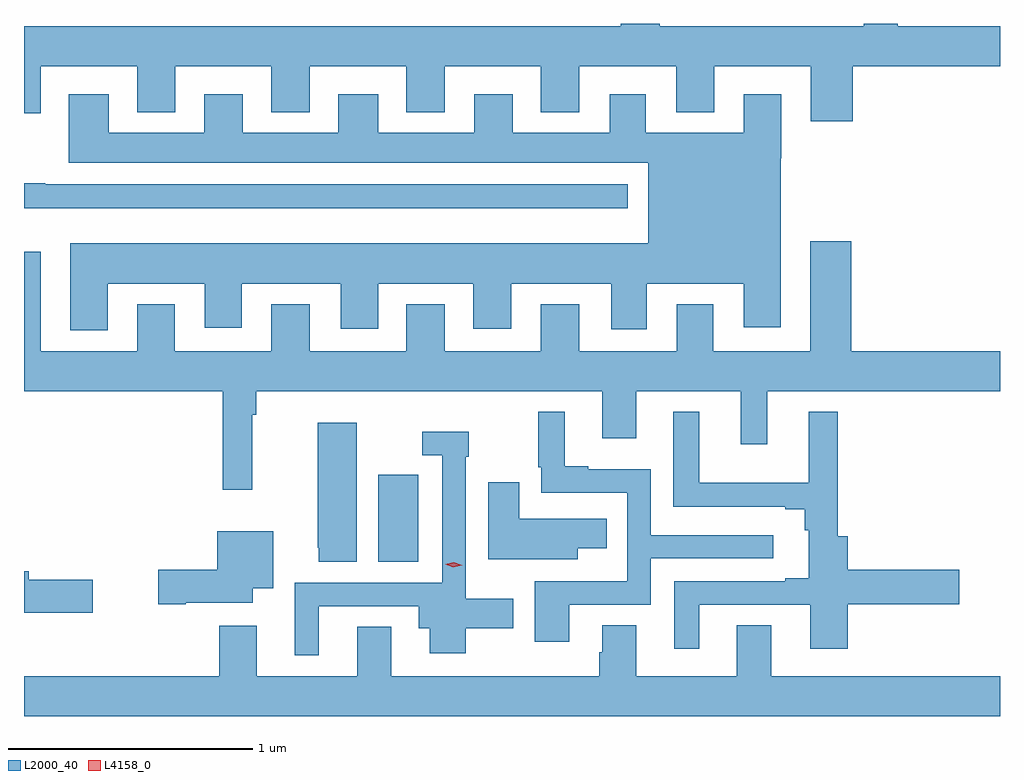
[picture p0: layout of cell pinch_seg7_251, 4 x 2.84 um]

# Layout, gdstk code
import gdstk
lib = gdstk.Library(unit=1e-6, precision=1e-09)
def R(c, l, rs):  # rectangles x0, y0, x1, y1
    for r in rs: c.add(gdstk.rectangle(r[:2], r[2:], *l))
def P(c, l, *ps):  # polygons
    for p in ps: c.add(gdstk.Polygon(p, *l))
L2000_40 = (2000, 40)
L4158_0 = (4158, 0)

pinch_seg7_251 = lib.new_cell('pinch_seg7_251')
R(pinch_seg7_251, L2000_40, [(807.818,1065.184,807.982,1065.541)])
P(pinch_seg7_251, L2000_40, [(809.762,1067.216),(810.366,1067.216),(810.366,1067.38),(809.947,1067.38),(809.947,1067.389),(809.807,1067.389),(809.807,1067.38),(808.971,1067.38),(808.971,1067.389),(808.811,1067.389),(808.811,1067.38),(806.366,1067.38),(806.366,1067.022),(806.434,1067.022),(806.434,1067.216),(806.831,1067.216),(806.831,1067.027),(806.986,1067.027),(806.986,1067.216),(807.38,1067.216),(807.38,1067.027),(807.538,1067.027),(807.538,1067.216),(807.932,1067.216),(807.932,1067.027),(808.09,1067.027),(808.09,1067.216),(808.484,1067.216),(808.484,1067.027),(808.642,1067.027),(808.642,1067.216),(809.039,1067.216),(809.039,1067.027),(809.194,1067.027),(809.194,1067.216),(809.591,1067.216),(809.591,1066.989),(809.762,1066.989)],
  [(806.71,1066.325),(807.107,1066.325),(807.107,1066.143),(807.259,1066.143),(807.259,1066.325),(807.665,1066.325),(807.665,1066.14),(807.817,1066.14),(807.817,1066.325),(808.208,1066.325),(808.208,1066.14),(808.363,1066.14),(808.363,1066.325),(808.772,1066.325),(808.772,1066.137),(808.918,1066.137),(808.918,1066.325),(809.315,1066.325),(809.315,1066.146),(809.467,1066.146),(809.467,1066.838),(809.47,1066.838),(809.47,1067.101),(809.315,1067.101),(809.315,1066.942),(808.915,1066.942),(808.915,1067.101),(808.766,1067.101),(808.766,1066.942),(808.369,1066.942),(808.369,1067.101),(808.211,1067.101),(808.211,1066.942),(807.817,1066.942),(807.817,1067.101),(807.653,1067.101),(807.653,1066.942),(807.262,1066.942),(807.262,1067.101),(807.104,1067.101),(807.104,1066.942),(806.713,1066.942),(806.713,1067.101),(806.549,1067.101),(806.549,1066.82),(808.925,1066.82),(808.925,1066.489),(806.555,1066.489),(806.555,1066.133),(806.71,1066.133)],
  [(808.84,1066.731),(806.453,1066.731),(806.453,1066.736),(806.366,1066.736),(806.366,1066.634),(808.84,1066.634)],
  [(807.302,1065.788),(807.317,1065.788),(807.317,1065.884),(808.736,1065.884),(808.736,1065.69),(808.876,1065.69),(808.876,1065.884),(809.303,1065.884),(809.303,1065.666),(809.413,1065.666),(809.413,1065.884),(810.366,1065.884),(810.366,1066.048),(809.756,1066.048),(809.756,1066.498),(809.588,1066.498),(809.588,1066.048),(809.191,1066.048),(809.191,1066.24),(809.042,1066.24),(809.042,1066.048),(808.642,1066.048),(808.642,1066.24),(808.484,1066.24),(808.484,1066.048),(808.09,1066.048),(808.09,1066.24),(807.932,1066.24),(807.932,1066.048),(807.538,1066.048),(807.538,1066.24),(807.38,1066.24),(807.38,1066.048),(806.983,1066.048),(806.983,1066.24),(806.831,1066.24),(806.831,1066.048),(806.434,1066.048),(806.434,1066.456),(806.366,1066.456),(806.366,1065.884),(807.181,1065.884),(807.181,1065.48),(807.302,1065.48)],
  [(809.134,1065.009),(809.588,1065.009),(809.588,1064.829),(809.741,1064.829),(809.741,1065.01),(810.199,1065.01),(810.199,1065.152),(809.741,1065.152),(809.741,1065.289),(809.701,1065.289),(809.701,1065.799),(809.582,1065.799),(809.582,1065.508),(809.134,1065.508),(809.134,1065.799),(809.027,1065.799),(809.027,1065.411),(809.486,1065.411),(809.486,1065.399),(809.565,1065.399),(809.565,1065.314),(809.582,1065.314),(809.582,1065.118),(809.486,1065.118),(809.486,1065.105),(809.03,1065.105),(809.03,1064.829),(809.134,1064.829)],
  [(808.6,1065.009),(808.935,1065.009),(808.935,1065.198),(809.437,1065.198),(809.437,1065.294),(808.935,1065.294),(808.935,1065.564),(808.678,1065.564),(808.678,1065.577),(808.582,1065.577),(808.582,1065.799),(808.473,1065.799),(808.473,1065.571),(808.485,1065.571),(808.485,1065.468),(808.839,1065.468),(808.839,1065.106),(808.838,1065.106),(808.838,1065.105),(808.46,1065.105),(808.46,1064.856),(808.6,1064.856)],
  [(807.73,1065.754),(807.569,1065.754),(807.569,1065.243),(807.575,1065.243),(807.575,1065.184),(807.73,1065.184)],
  [(807.574,1065.003),(807.983,1065.003),(807.983,1064.912),(808.028,1064.912),(808.028,1064.81),(808.177,1064.81),(808.177,1064.912),(808.372,1064.912),(808.372,1065.034),(808.176,1065.034),(808.176,1065.614),(808.189,1065.614),(808.189,1065.718),(807.999,1065.718),(807.999,1065.621),(808.08,1065.621),(808.08,1065.099),(807.476,1065.099),(807.476,1064.802),(807.574,1064.802)],
  [(808.636,1065.239),(808.754,1065.239),(808.754,1065.361),(808.396,1065.361),(808.396,1065.511),(808.268,1065.511),(808.268,1065.194),(808.636,1065.194)],
  [(807.028,1065.017),(807.304,1065.017),(807.304,1065.077),(807.388,1065.077),(807.388,1065.31),(807.158,1065.31),(807.158,1065.152),(806.916,1065.152),(806.916,1065.01),(807.028,1065.01)],
  [(806.647,1065.11),(806.386,1065.11),(806.386,1065.146),(806.366,1065.146),(806.366,1064.975),(806.647,1064.975)],
  [(810.366,1064.716),(809.428,1064.716),(809.428,1064.924),(809.288,1064.924),(809.288,1064.716),(808.876,1064.716),(808.876,1064.924),(808.736,1064.924),(808.736,1064.814),(808.724,1064.814),(808.724,1064.716),(807.871,1064.716),(807.871,1064.918),(807.731,1064.918),(807.731,1064.716),(807.319,1064.716),(807.319,1064.923),(807.167,1064.923),(807.167,1064.716),(806.366,1064.716),(806.366,1064.552),(810.366,1064.552)])
P(pinch_seg7_251, L4158_0, [(808.126,1065.163),(808.092,1065.174),(808.091,1065.174),(808.092,1065.174),(808.127,1065.182),(808.162,1065.171),(808.162,1065.171),(808.162,1065.171)])

lib.write_gds('pinch_seg7_251.gds')
